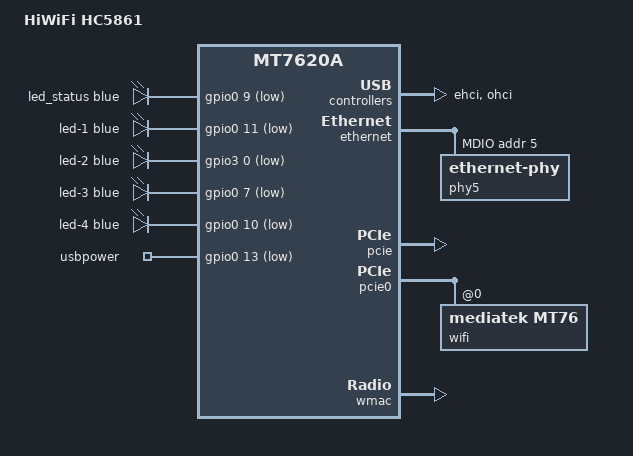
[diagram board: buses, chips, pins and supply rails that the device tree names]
#include "mt7620a_hiwifi_hc5x61.dtsi"

/ {
	compatible = "hiwifi,hc5861", "ralink,mt7620a-soc";
	model = "HiWiFi HC5861";

	aliases {
		label-mac-device = &ethernet;
		led-boot = &led_status;
		led-failsafe = &led_status;
		led-running = &led_status;
		led-upgrade = &led_status;
	};

	leds {
		compatible = "gpio-leds";

		led_status: led-0 {
			color = <LED_COLOR_ID_BLUE>;
			function = LED_FUNCTION_STATUS;
			gpios = <&gpio0 9 GPIO_ACTIVE_LOW>;
		};

		led-1 {
			color = <LED_COLOR_ID_BLUE>;
			function = LED_FUNCTION_WLAN_2GHZ;
			gpios = <&gpio0 11 GPIO_ACTIVE_LOW>;
			linux,default-trigger = "phy1tpt";
		};

		led-2 {
			color = <LED_COLOR_ID_BLUE>;
			function = LED_FUNCTION_WAN;
			gpios = <&gpio3 0 GPIO_ACTIVE_LOW>;
		};

		led-3 {
			color = <LED_COLOR_ID_BLUE>;
			function = LED_FUNCTION_WLAN_5GHZ;
			gpios = <&gpio0 7 GPIO_ACTIVE_LOW>;
			linux,default-trigger = "phy0tpt";
		};

		led-4 {
			color = <LED_COLOR_ID_BLUE>;
			function = LED_FUNCTION_USB;
			gpios = <&gpio0 10 GPIO_ACTIVE_LOW>;
			linux,default-trigger = "usbport";
			trigger-sources = <&ohci_port1>, <&ehci_port1>;
		};
	};

	gpio_export {
		compatible = "gpio-export";

		usbpower {
			gpio-export,name = "usbpower";
			gpio-export,output = <0>;
			gpios = <&gpio0 13 GPIO_ACTIVE_LOW>;
		};
	};
};

&ehci {
	status = "okay";
};

&ohci {
	status = "okay";
};

&ethernet {
	pinctrl-names = "default";
	pinctrl-0 = <&mdio_pins>, <&rgmii1_pins>;

	mediatek,portmap = "llllw";

	port@5 {
		status = "okay";
		phy-handle = <&phy5>;
		phy-mode = "rgmii";
	};

	mdio-bus {
		status = "okay";

		phy5: ethernet-phy@5 {
			reg = <5>;
			phy-mode = "rgmii";
		};
	};
};

&gsw {
	mediatek,ephy-base = /bits/ 8 <12>;
};

&mmc_reg_3v3 {
	/delete-property/ enable-active-high;

	gpios = <&gpio0 8 GPIO_ACTIVE_LOW>;
};

&pcie {
	status = "okay";
};

&pcie0 {
	wifi@0,0 {
		compatible = "mediatek,mt76";
		reg = <0x0000 0 0 0 0>;
		nvmem-cells = <&eeprom_factory_8000>, <&macaddr_bdinfo_18a 0>;
		nvmem-cell-names = "eeprom", "mac-address";
		ieee80211-freq-limit = <5000000 6000000>;
	};
};

&wmac {
	pinctrl-names = "default", "pa_gpio";
	pinctrl-0 = <&pa_pins>;
	pinctrl-1 = <&pa_gpio_pins>;
};
